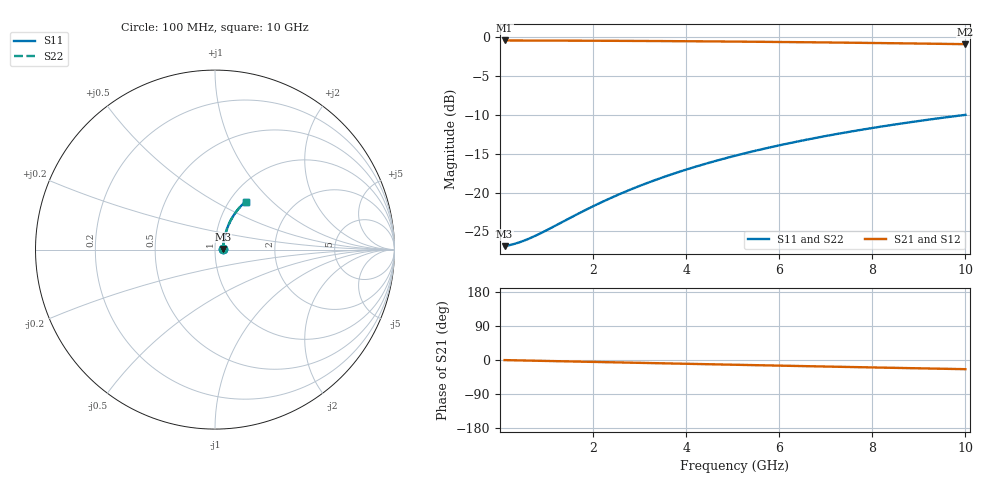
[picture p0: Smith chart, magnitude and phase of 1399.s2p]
# Hz S RI R 50.00
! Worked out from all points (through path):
!   100 points, 100 MHz to 10 GHz, reference 50 ohm
!   highest |S21| = -0.40 dB at 100 MHz (marker M1); lowest = -0.9 dB at 10 GHz (marker M2)
!   group delay of S21, straight-line fit = 6.74 ps
!   lowest |S11| = -26.9 dB at 100 MHz (marker M3), VSWR 1.09, Z = 54.7 + j0.346 ohm
!   |S11| at or under -10 dB: start of sweep to 9.98 GHz
!   |S22| runs from -26.9 to -10.0 dB; largest |S21 - S12| = 0
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1e8  0.0451 0.00316  0.9549 -0.00419  0.9549 -0.00419  0.0451 0.00316
3e8  0.0457 0.00946  0.9543 -0.0126  0.9543 -0.0126  0.0457 0.00946
4e8  0.0459 0.0126  0.9541 -0.0167  0.9541 -0.0167  0.0459 0.0126
5e8  0.0462 0.0158  0.9538 -0.0209  0.9538 -0.0209  0.0462 0.0158
7e8  0.0468 0.022  0.9532 -0.0292  0.9532 -0.0292  0.0468 0.022
1e9  0.0477 0.0314  0.9522 -0.0417  0.9522 -0.0417  0.0477 0.0314
1.8e9  0.0514 0.0563  0.9485 -0.0748  0.9485 -0.0748  0.0514 0.0563
2.2e9  0.0537 0.0686  0.946 -0.0913  0.946 -0.0913  0.0537 0.0686
2.6e9  0.0565 0.0808  0.9431 -0.1076  0.9431 -0.1076  0.0565 0.0808
3e9  0.0597 0.0928  0.9398 -0.1238  0.9398 -0.1238  0.0597 0.0928
3.4e9  0.0633 0.1047  0.936 -0.1398  0.936 -0.1398  0.0633 0.1047
3.8e9  0.0673 0.1165  0.9319 -0.1557  0.9319 -0.1557  0.0673 0.1165
4.2e9  0.0716 0.128  0.9274 -0.1713  0.9274 -0.1713  0.0716 0.128
4.6e9  0.0763 0.1394  0.9225 -0.1868  0.9225 -0.1868  0.0763 0.1394
5.1e9  0.0827 0.1533  0.9158 -0.2059  0.9158 -0.2059  0.0827 0.1533
5.5e9  0.0883 0.1641  0.91 -0.2209  0.91 -0.2209  0.0883 0.1641
5.9e9  0.0941 0.1747  0.9039 -0.2356  0.9039 -0.2356  0.0941 0.1747
6.7e9  0.1068 0.1952  0.8907 -0.2644  0.8907 -0.2644  0.1068 0.1952
7.5e9  0.1206 0.2145  0.8762 -0.2921  0.8762 -0.2921  0.1206 0.2145
8.4e9  0.1375 0.2349  0.8586 -0.3218  0.8586 -0.3218  0.1375 0.2349
9.2e9  0.1534 0.2517  0.8418 -0.3469  0.8418 -0.3469  0.1534 0.2517
1e10  0.1702 0.2672  0.8242 -0.3707  0.8242 -0.3707  0.1702 0.2672
